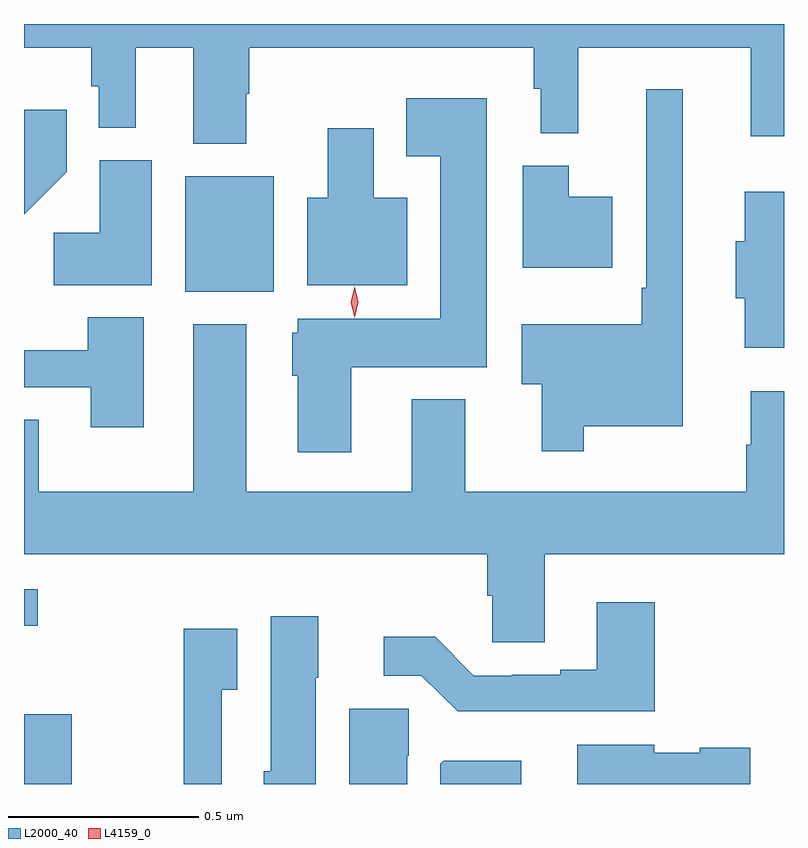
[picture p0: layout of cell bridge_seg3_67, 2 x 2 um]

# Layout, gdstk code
import gdstk
lib = gdstk.Library(unit=1e-6, precision=1e-09)
def R(c, l, rs):  # rectangles x0, y0, x1, y1
    for r in rs: c.add(gdstk.rectangle(r[:2], r[2:], *l))
def P(c, l, *ps):  # polygons
    for p in ps: c.add(gdstk.Polygon(p, *l))
L2000_40 = (2000, 40)
L4159_0 = (4159, 0)

bridge_seg3_67 = lib.new_cell('bridge_seg3_67')
R(bridge_seg3_67, L2000_40, [(573.634,692.319,573.76,692.503), (573.634,692.735,573.67,692.832), (574.058,693.614,574.291,693.919)])
P(bridge_seg3_67, L2000_40, [(574.219,694.136),(574.227,694.136),(574.227,694.256),(574.975,694.256),(574.975,694.149),(574.994,694.149),(574.994,694.031),(575.093,694.031),(575.093,694.256),(575.546,694.256),(575.546,694.023),(575.634,694.023),(575.634,694.319),(573.634,694.319),(573.634,694.256),(573.811,694.256),(573.811,694.155),(573.831,694.155),(573.831,694.046),(573.928,694.046),(573.928,694.256),(574.079,694.256),(574.079,694.004),(574.219,694.004)],
  [(575.107,693.26),(575.368,693.26),(575.368,694.147),(575.271,694.147),(575.271,693.625),(575.259,693.625),(575.259,693.529),(574.944,693.529),(574.944,693.371),(574.997,693.371),(574.997,693.195),(575.107,693.195)],
  [(574.495,693.416),(574.852,693.416),(574.852,694.123),(574.64,694.123),(574.64,693.971),(574.73,693.971),(574.73,693.544),(574.355,693.544),(574.355,693.507),(574.34,693.507),(574.34,693.393),(574.355,693.393),(574.355,693.192),(574.495,693.192)],
  [(573.746,693.93),(573.746,694.093),(573.634,694.093),(573.634,693.818)],
  [(574.642,693.862),(574.555,693.862),(574.555,694.045),(574.433,694.045),(574.433,693.862),(574.379,693.862),(574.379,693.632),(574.642,693.632)],
  [(573.97,693.961),(573.833,693.961),(573.833,693.77),(573.712,693.77),(573.712,693.632),(573.97,693.632)],
  [(575.182,693.865),(575.068,693.865),(575.068,693.946),(574.946,693.946),(574.946,693.677),(575.182,693.677)],
  [(575.634,693.877),(575.531,693.877),(575.531,693.747),(575.507,693.747),(575.507,693.597),(575.531,693.597),(575.531,693.467),(575.634,693.467)],
  [(573.949,693.547),(573.802,693.547),(573.802,693.461),(573.634,693.461),(573.634,693.363),(573.809,693.363),(573.809,693.258),(573.949,693.258)],
  [(575.005,692.924),(575.634,692.924),(575.634,693.352),(575.546,693.352),(575.546,693.212),(575.535,693.212),(575.535,693.088),(574.795,693.088),(574.795,693.331),(574.655,693.331),(574.655,693.088),(574.219,693.088),(574.219,693.529),(574.079,693.529),(574.079,693.088),(573.673,693.088),(573.673,693.278),(573.634,693.278),(573.634,692.924),(574.853,692.924),(574.853,692.814),(574.866,692.814),(574.866,692.692),(575.005,692.692)],
  [(575.294,692.797),(575.141,692.797),(575.141,692.62),(575.045,692.62),(575.045,692.607),(574.918,692.607),(574.918,692.604),(574.818,692.604),(574.716,692.707),(574.581,692.707),(574.581,692.604),(574.68,692.604),(574.775,692.51),(575.294,692.51)],
  [(574.402,692.598),(574.408,692.598),(574.408,692.761),(574.283,692.761),(574.283,692.352),(574.265,692.352),(574.265,692.319),(574.402,692.319)],
  [(574.155,692.567),(574.195,692.567),(574.195,692.728),(574.054,692.728),(574.054,692.319),(574.155,692.319)],
  [(574.642,692.394),(574.646,692.394),(574.646,692.517),(574.49,692.517),(574.49,692.319),(574.642,692.319)],
  [(575.545,692.414),(575.412,692.414),(575.412,692.401),(575.292,692.401),(575.292,692.422),(575.09,692.422),(575.09,692.319),(575.545,692.319)],
  [(574.942,692.38),(574.738,692.38),(574.73,692.372),(574.73,692.319),(574.942,692.319)])
P(bridge_seg3_67, L4159_0, [(574.505,693.546),(574.504,693.547),(574.494,693.587),(574.504,693.627),(574.504,693.627),(574.504,693.627),(574.514,693.587),(574.505,693.547)])

lib.write_gds('bridge_seg3_67.gds')
